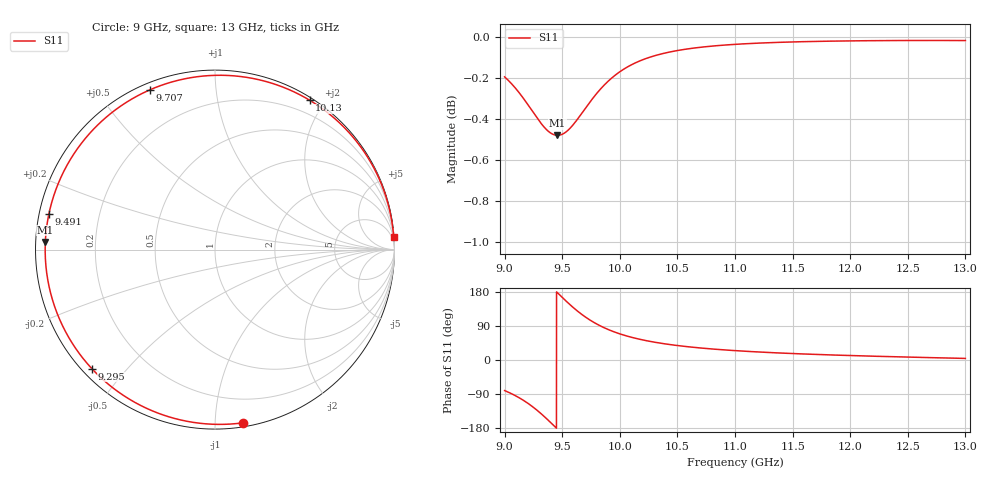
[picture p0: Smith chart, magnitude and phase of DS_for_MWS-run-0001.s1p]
! TOUCHSTONE file generated by CST DESIGN STUDIO
! Date and time: Tue Feb  4 16:39:47 2025
! Project name: C:\Work\MatlabApps\UnitCellOptimizationMatlab\CST\unitcell.cst
! Tree item: Tasks\Sweep1\SPara1\S-Parameters
! Header version: 2024
! Port assignment regex: !\s*Touchstone port\s*([0-9]+)\s*=\s*(CST MWS port|CST DES external port|CST DES block port)\s*(.+)\s* \(\"(.*)\"\)(\s*mode\s*([0-9]+))?.*
! Touchstone port assignment:
! Touchstone port 1 = CST DES external port 1 ("")
# GHz S MA R 50
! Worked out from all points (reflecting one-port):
!   4001 points, 9 GHz to 13 GHz, reference 50 ohm
!   lowest |S11| = -0.5 dB at 9.459 GHz (marker M1), VSWR 36.18, Z = 1.38 + j1.13 ohm
!   phase of S11 starts at -81 deg and turns -275 deg over the sweep
!   S11 on the Smith chart (normalised r, x): 9 GHz: 0.03, -1.18; 9.295 GHz: 0.03, -0.40; 9.491 GHz: 0.03, +0.11; 9.707 GHz: 0.03, +0.67; 10.13 GHz: 0.03, +1.82; 13 GHz: 1, +27
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9  0.9777 -80.7
9.092  0.9717 -93.9
9.166  0.9658 -106.9
9.232  0.9599 -120.8
9.295  0.9543 -136.0
9.338  0.9509 -147.4
9.383  0.9482 -160.1
9.422  0.9467 -171.6
9.459  0.9462 177.4
9.491  0.9466 167.9
9.5  0.9468 165.3
9.549  0.9488 151.2
9.605  0.9526 136.1
9.655  0.9567 123.7
9.707  0.9611 112.3
9.764  0.9659 101.2
9.829  0.9708 90.3
9.912  0.9761 78.8
10  0.9805 69.0
10.131  0.9853 57.7
10.297  0.9892 47.2
10.5  0.9922 38.2
10.723  0.9942 31.1
11  0.9956 24.7
11.5  0.997 17.0
12  0.9976 11.8
12.5  0.9978 7.7
13  0.9978 4.2
